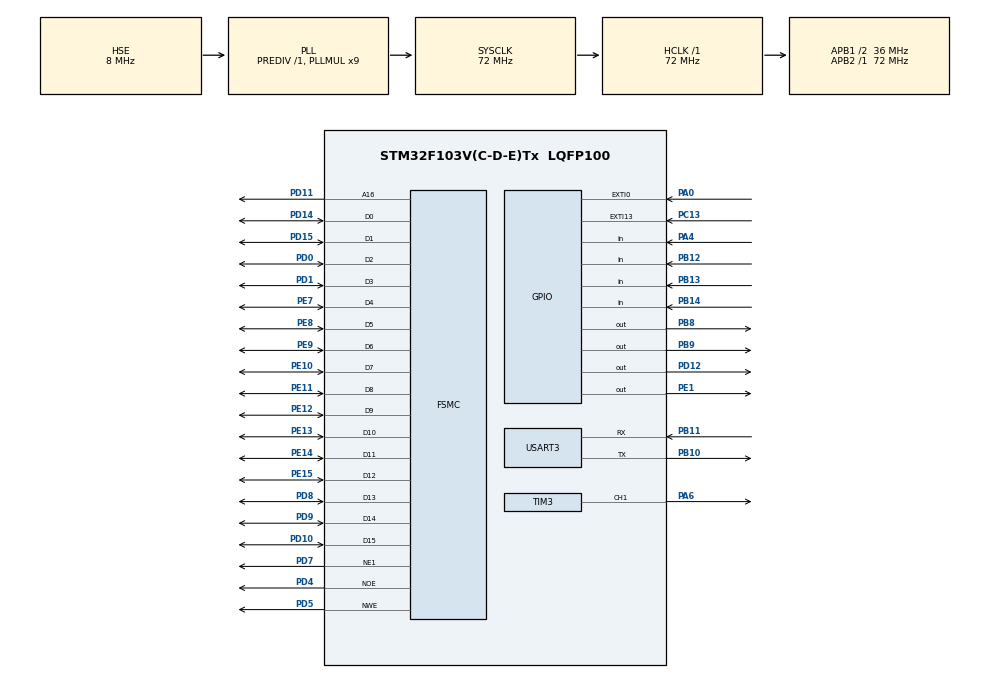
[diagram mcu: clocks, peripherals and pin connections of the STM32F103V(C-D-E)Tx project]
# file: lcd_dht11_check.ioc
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Mcu.Family=STM32F1
Mcu.Name=STM32F103V(C-D-E)Tx
Mcu.Package=LQFP100
NVIC.EXTI0_IRQn=true\:0\:0\:false\:false\:true\:true\:true
NVIC.EXTI15_10_IRQn=true\:0\:0\:false\:false\:true\:true\:true
NVIC.PriorityGroup=NVIC_PRIORITYGROUP_4
NVIC.USART3_IRQn=true\:0\:0\:false\:false\:true\:true\:true
OSC_IN.Mode=HSE-External-Oscillator
OSC_IN.Signal=RCC_OSC_IN
OSC_OUT.Mode=HSE-External-Oscillator
OSC_OUT.Signal=RCC_OSC_OUT
PA0-WKUP.Signal=GPXTI0
PA13.Mode=Serial_Wire
PA13.Signal=SYS_JTMS-SWDIO
PA14.Mode=Serial_Wire
PA14.Signal=SYS_JTCK-SWCLK
PA4.Signal=GPIO_Input
PA6.Signal=S_TIM3_CH1
PB10.Mode=Asynchronous
PB10.Signal=USART3_TX
PB11.Mode=Asynchronous
PB11.Signal=USART3_RX
PB12.Signal=GPIO_Input
PB13.Signal=GPIO_Input
PB14.Signal=GPIO_Input
PB8.GPIO_Speed=GPIO_SPEED_FREQ_HIGH
PB8.Signal=GPIO_Output
PB9.GPIO_Speed=GPIO_SPEED_FREQ_HIGH
PB9.Signal=GPIO_Output
PC13-TAMPER-RTC.Signal=GPXTI13
PC14-OSC32_IN.Mode=LSE-External-Oscillator
PC14-OSC32_IN.Signal=RCC_OSC32_IN
PC15-OSC32_OUT.Mode=LSE-External-Oscillator
PC15-OSC32_OUT.Signal=RCC_OSC32_OUT
PD0.Mode=16b-d1
PD0.Signal=FSMC_D2
PD1.Mode=16b-d1
PD1.Signal=FSMC_D3
PD10.Mode=16b-d1
PD10.Signal=FSMC_D15
PD11.Mode=A16_1
PD11.Signal=FSMC_A16
PD12.GPIO_Speed=GPIO_SPEED_FREQ_HIGH
PD12.Signal=GPIO_Output
PD14.Mode=16b-d1
PD14.Signal=FSMC_D0
PD15.Mode=16b-d1
PD15.Signal=FSMC_D1
PD4.Mode=Lcd1
PD4.Signal=FSMC_NOE
PD5.Mode=Lcd1
PD5.Signal=FSMC_NWE
PD7.Mode=NorPsramChipSelect1_1
PD7.Signal=FSMC_NE1
PD8.Mode=16b-d1
PD8.Signal=FSMC_D13
PD9.Mode=16b-d1
PD9.Signal=FSMC_D14
PE1.GPIO_Speed=GPIO_SPEED_FREQ_HIGH
PE1.Signal=GPIO_Output
PE10.Mode=16b-d1
PE10.Signal=FSMC_D7
PE11.Mode=16b-d1
PE11.Signal=FSMC_D8
PE12.Mode=16b-d1
PE12.Signal=FSMC_D9
PE13.Mode=16b-d1
PE13.Signal=FSMC_D10
PE14.Mode=16b-d1
PE14.Signal=FSMC_D11
PE15.Mode=16b-d1
PE15.Signal=FSMC_D12
PE7.Mode=16b-d1
PE7.Signal=FSMC_D4
PE8.Mode=16b-d1
PE8.Signal=FSMC_D5
PE9.Mode=16b-d1
PE9.Signal=FSMC_D6
ProjectManager.HeapSize=0x200
ProjectManager.StackSize=0x400
ProjectManager.TargetToolchain=MDK-ARM V5
RCC.AHBFreq_Value=72000000
RCC.APB1CLKDivider=RCC_HCLK_DIV2
RCC.APB1Freq_Value=36000000
RCC.APB1TimFreq_Value=72000000
RCC.APB2Freq_Value=72000000
RCC.APB2TimFreq_Value=72000000
RCC.HCLKFreq_Value=72000000
RCC.PLLMUL=RCC_PLL_MUL9
RCC.PLLSourceVirtual=RCC_PLLSOURCE_HSE
RCC.SYSCLKFreq_VALUE=72000000
RCC.SYSCLKSource=RCC_SYSCLKSOURCE_PLLCLK
RCC.USBFreq_Value=72000000
SH.S_TIM3_CH1.0=TIM3_CH1,PWM Generation1 CH1
TIM1.Period=0xffff-1
TIM1.Prescaler=72-1
TIM3.Channel-PWM\ Generation1\ CH1=TIM_CHANNEL_1
TIM3.Period=2880-1
TIM3.Pulse-PWM\ Generation1\ CH1=864
USART3.VirtualMode=VM_ASYNC
VP_TIM1_VS_ClockSourceINT.Mode=Internal
VP_TIM3_VS_ClockSourceINT.Mode=Internal
board=custom

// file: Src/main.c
/* USER CODE BEGIN Header */
/**
  ******************************************************************************
  * @file           : main.c
  * @brief          : Main program body
  ******************************************************************************
  * @attention
  *
  * <h2><center>&copy; Copyright (c) 2020 STMicroelectronics.
  * All rights reserved.</center></h2>
  *
  * This software component is licensed by ST under BSD 3-Clause license,
  * the "License"; You may not use this file except in compliance with the
  * License. You may obtain a copy of the License at:
  *                        opensource.org/licenses/BSD-3-Clause
  *
  ******************************************************************************
  */
/* USER CODE END Header */

#include "main.h"

/* USER CODE BEGIN Includes */
#include "lcd.h"
#include "./dht11/dht11.h"
#include "ESP_DATA_HANDLER.h"
/* USER CODE END Includes */

TIM_HandleTypeDef htim1;
TIM_HandleTypeDef htim3;

UART_HandleTypeDef huart3;

SRAM_HandleTypeDef hsram1;

/* USER CODE BEGIN PV */
uint8_t fan_mode = 0;								//0 -> auto, 1 manual
unsigned int count = 0;
uint8_t display_mode = 1;						//0 -> web server, 1 lcd
/* USER CODE END PV */

void SystemClock_Config(void);
static void MX_GPIO_Init(void);
static void MX_FSMC_Init(void);
static void MX_TIM1_Init(void);
static void MX_TIM3_Init(void);
static void MX_USART3_UART_Init(void);
/* USER CODE BEGIN PFP */
void delay_us(uint16_t us);
void user_pwm_setvalue(uint16_t value);
void fan_speed_auto(unsigned int digit);
/* USER CODE END PFP */

int main(void)
{
  /* USER CODE BEGIN 1 */
	DHT11_Data_TypeDef DHT11_Data;
  /* USER CODE END 1 */

  /* MCU Configuration--------------------------------------------------------*/

  /* Reset of all peripherals, Initializes the Flash interface and the Systick. */
  HAL_Init();

  /* Configure the system clock */
  SystemClock_Config();

  /* Initialize all configured peripherals */
  MX_GPIO_Init();
  MX_FSMC_Init();
  MX_TIM1_Init();
  MX_TIM3_Init();
  MX_USART3_UART_Init();
  /* USER CODE BEGIN 2 */
	LCD_INIT();
	LCD_DrawString(0,0,"Initializing...");

	HAL_TIM_Base_Start(&htim1);
	HAL_TIM_PWM_Start(&htim3,TIM_CHANNEL_1);
	DHT11_Init();
	HAL_Delay(1000);

	//Wifi SSID, password, static IP
	ESP_Init("Buffalo-G-751","checkbuffalo","192.168.1.4");

	LCD_Clear(0,0,240,320,WHITE);

  /* USER CODE END 2 */

  /* Infinite loop */
  while (1)
  {

    /* USER CODE BEGIN 3 */
		if(display_mode){
			char str[50];
			if(DHT11_Read_TempAndHumidity(&DHT11_Data)==1){
				LCD_DrawString(0,0,"DHT11 Readings:");

				sprintf(str,"Temperature: %d.%d C",DHT11_Data.temp_int,DHT11_Data.temp_deci);
				LCD_DrawString(0,24,str);

				sprintf(str,"Humidity: %d.%d %%",DHT11_Data.humi_int,DHT11_Data.humi_deci);
				LCD_DrawString(0,48,str);
			}else{
				sprintf(str,"DHT11 Error: %d",DHT11_Data.presence);
				LCD_DrawString(0,0,str);
			}

			if(!fan_mode){
				fan_speed_auto(DHT11_Data.temp_int);
				LCD_DrawString(0,72,"Fan Mode:\tAUTO");
			}else{
				GPIO_PinState state = HAL_GPIO_ReadPin(GPIOA,GPIO_PIN_4);
				if(state!=GPIO_PIN_RESET){
					++count;
				}
				char str[50];

				switch(count%3){
					case 0:
						user_pwm_setvalue(864);
						sprintf(str,"Fan Mode:\tMANUAL 30%%");
						break;
					case 1:
						user_pwm_setvalue(1728);
						sprintf(str,"Fan Mode:\tMANUAL 60%%");
						break;
					case 2:
						user_pwm_setvalue(2860);
						sprintf(str,"Fan Mode:\tMANUAL 100%%");
						break;
					}
					LCD_DrawString(0,72,str);
			}
		}else{
				LCD_DrawString(0,0,"Web Server Mode");
				if(DHT11_Read_TempAndHumidity(&DHT11_Data)==1){
					Server_Start(DHT11_Data.temp_int,DHT11_Data.temp_deci,DHT11_Data.humi_int,DHT11_Data.humi_deci);
					if(!fan_mode){
						fan_speed_auto(DHT11_Data.temp_int);
					}
				}else{
					LCD_DrawString(0,24,"DHT11 Error!");
				}

		}

		static int i = 0;
		char i_buffer[10];
		sprintf(i_buffer, "i = %d", i);
		LCD_DrawString(0, 200, i_buffer);
		++i;

		HAL_Delay(3000);
		LCD_Clear(0,0,240,320,WHITE);
	}
  /* USER CODE END 3 */
}

void SystemClock_Config(void)
{
  RCC_OscInitTypeDef RCC_OscInitStruct = {0};
  RCC_ClkInitTypeDef RCC_ClkInitStruct = {0};

  /** Initializes the CPU, AHB and APB busses clocks
  */
  RCC_OscInitStruct.OscillatorType = RCC_OSCILLATORTYPE_HSE;
  RCC_OscInitStruct.HSEState = RCC_HSE_ON;
  RCC_OscInitStruct.HSEPredivValue = RCC_HSE_PREDIV_DIV1;
  RCC_OscInitStruct.HSIState = RCC_HSI_ON;
  RCC_OscInitStruct.PLL.PLLState = RCC_PLL_ON;
  RCC_OscInitStruct.PLL.PLLSource = RCC_PLLSOURCE_HSE;
  RCC_OscInitStruct.PLL.PLLMUL = RCC_PLL_MUL9;
  if (HAL_RCC_OscConfig(&RCC_OscInitStruct) != HAL_OK)
  {
    Error_Handler();
  }
  /** Initializes the CPU, AHB and APB busses clocks
  */
  RCC_ClkInitStruct.ClockType = RCC_CLOCKTYPE_HCLK|RCC_CLOCKTYPE_SYSCLK
                              |RCC_CLOCKTYPE_PCLK1|RCC_CLOCKTYPE_PCLK2;
  RCC_ClkInitStruct.SYSCLKSource = RCC_SYSCLKSOURCE_PLLCLK;
  RCC_ClkInitStruct.AHBCLKDivider = RCC_SYSCLK_DIV1;
  RCC_ClkInitStruct.APB1CLKDivider = RCC_HCLK_DIV2;
  RCC_ClkInitStruct.APB2CLKDivider = RCC_HCLK_DIV1;

  if (HAL_RCC_ClockConfig(&RCC_ClkInitStruct, FLASH_LATENCY_2) != HAL_OK)
  {
    Error_Handler();
  }
}

static void MX_TIM1_Init(void)
{

  TIM_ClockConfigTypeDef sClockSourceConfig = {0};
  TIM_MasterConfigTypeDef sMasterConfig = {0};

  htim1.Instance = TIM1;
  htim1.Init.Prescaler = 72-1;
  htim1.Init.CounterMode = TIM_COUNTERMODE_UP;
  htim1.Init.Period = 0xffff-1;
  htim1.Init.ClockDivision = TIM_CLOCKDIVISION_DIV1;
  htim1.Init.RepetitionCounter = 0;
  htim1.Init.AutoReloadPreload = TIM_AUTORELOAD_PRELOAD_DISABLE;
  if (HAL_TIM_Base_Init(&htim1) != HAL_OK)
  {
    Error_Handler();
  }
  sClockSourceConfig.ClockSource = TIM_CLOCKSOURCE_INTERNAL;
  if (HAL_TIM_ConfigClockSource(&htim1, &sClockSourceConfig) != HAL_OK)
  {
    Error_Handler();
  }
  sMasterConfig.MasterOutputTrigger = TIM_TRGO_RESET;
  sMasterConfig.MasterSlaveMode = TIM_MASTERSLAVEMODE_DISABLE;
  if (HAL_TIMEx_MasterConfigSynchronization(&htim1, &sMasterConfig) != HAL_OK)
  {
    Error_Handler();
  }

}

static void MX_TIM3_Init(void)
{

  TIM_ClockConfigTypeDef sClockSourceConfig = {0};
  TIM_MasterConfigTypeDef sMasterConfig = {0};
  TIM_OC_InitTypeDef sConfigOC = {0};

  htim3.Instance = TIM3;
  htim3.Init.Prescaler = 0;
  htim3.Init.CounterMode = TIM_COUNTERMODE_UP;
  htim3.Init.Period = 2880-1;
  htim3.Init.ClockDivision = TIM_CLOCKDIVISION_DIV1;
  htim3.Init.AutoReloadPreload = TIM_AUTORELOAD_PRELOAD_DISABLE;
  if (HAL_TIM_Base_Init(&htim3) != HAL_OK)
  {
    Error_Handler();
  }
  sClockSourceConfig.ClockSource = TIM_CLOCKSOURCE_INTERNAL;
  if (HAL_TIM_ConfigClockSource(&htim3, &sClockSourceConfig) != HAL_OK)
  {
    Error_Handler();
  }
  if (HAL_TIM_PWM_Init(&htim3) != HAL_OK)
  {
    Error_Handler();
  }
  sMasterConfig.MasterOutputTrigger = TIM_TRGO_RESET;
  sMasterConfig.MasterSlaveMode = TIM_MASTERSLAVEMODE_DISABLE;
  if (HAL_TIMEx_MasterConfigSynchronization(&htim3, &sMasterConfig) != HAL_OK)
  {
    Error_Handler();
  }
  sConfigOC.OCMode = TIM_OCMODE_PWM1;
  sConfigOC.Pulse = 50;
  sConfigOC.OCPolarity = TIM_OCPOLARITY_HIGH;
  sConfigOC.OCFastMode = TIM_OCFAST_DISABLE;
  if (HAL_TIM_PWM_ConfigChannel(&htim3, &sConfigOC, TIM_CHANNEL_1) != HAL_OK)
  {
    Error_Handler();
  }
  HAL_TIM_MspPostInit(&htim3);

}

static void MX_USART3_UART_Init(void)
{

  huart3.Instance = USART3;
  huart3.Init.BaudRate = 115200;
  huart3.Init.WordLength = UART_WORDLENGTH_8B;
  huart3.Init.StopBits = UART_STOPBITS_1;
  huart3.Init.Parity = UART_PARITY_NONE;
  huart3.Init.Mode = UART_MODE_TX_RX;
  huart3.Init.HwFlowCtl = UART_HWCONTROL_NONE;
  huart3.Init.OverSampling = UART_OVERSAMPLING_16;
  if (HAL_UART_Init(&huart3) != HAL_OK)
  {
    Error_Handler();
  }

}

static void MX_GPIO_Init(void)
{
  GPIO_InitTypeDef GPIO_InitStruct = {0};

  /* GPIO Ports Clock Enable */
  __HAL_RCC_GPIOC_CLK_ENABLE();
  __HAL_RCC_GPIOA_CLK_ENABLE();
  __HAL_RCC_GPIOE_CLK_ENABLE();
  __HAL_RCC_GPIOB_CLK_ENABLE();
  __HAL_RCC_GPIOD_CLK_ENABLE();

  /*Configure GPIO pin Output Level */
  HAL_GPIO_WritePin(GPIOD, GPIO_PIN_12, GPIO_PIN_RESET);

  /*Configure GPIO pin Output Level */
  HAL_GPIO_WritePin(GPIOB, GPIO_PIN_8|GPIO_PIN_9, GPIO_PIN_RESET);

  /*Configure GPIO pin Output Level */
  HAL_GPIO_WritePin(GPIOE, GPIO_PIN_1, GPIO_PIN_RESET);

  /*Configure GPIO pin : PC13 */
  GPIO_InitStruct.Pin = GPIO_PIN_13;
  GPIO_InitStruct.Mode = GPIO_MODE_IT_RISING;
  GPIO_InitStruct.Pull = GPIO_NOPULL;
  HAL_GPIO_Init(GPIOC, &GPIO_InitStruct);

  /*Configure GPIO pin : PA0 */
  GPIO_InitStruct.Pin = GPIO_PIN_0;
  GPIO_InitStruct.Mode = GPIO_MODE_IT_RISING;
  GPIO_InitStruct.Pull = GPIO_NOPULL;
  HAL_GPIO_Init(GPIOA, &GPIO_InitStruct);

  /*Configure GPIO pin : PA4 */
  GPIO_InitStruct.Pin = GPIO_PIN_4;
  GPIO_InitStruct.Mode = GPIO_MODE_INPUT;
  GPIO_InitStruct.Pull = GPIO_NOPULL;
  HAL_GPIO_Init(GPIOA, &GPIO_InitStruct);

  /*Configure GPIO pins : PB12 PB13 PB14 */
  GPIO_InitStruct.Pin = GPIO_PIN_12|GPIO_PIN_13|GPIO_PIN_14;
  GPIO_InitStruct.Mode = GPIO_MODE_INPUT;
  GPIO_InitStruct.Pull = GPIO_NOPULL;
  HAL_GPIO_Init(GPIOB, &GPIO_InitStruct);

  /*Configure GPIO pin : PD12 */
  GPIO_InitStruct.Pin = GPIO_PIN_12;
  GPIO_InitStruct.Mode = GPIO_MODE_OUTPUT_PP;
  GPIO_InitStruct.Pull = GPIO_NOPULL;
  GPIO_InitStruct.Speed = GPIO_SPEED_FREQ_HIGH;
  HAL_GPIO_Init(GPIOD, &GPIO_InitStruct);

  /*Configure GPIO pins : PB8 PB9 */
  GPIO_InitStruct.Pin = GPIO_PIN_8|GPIO_PIN_9;
  GPIO_InitStruct.Mode = GPIO_MODE_OUTPUT_PP;
  GPIO_InitStruct.Pull = GPIO_NOPULL;
  GPIO_InitStruct.Speed = GPIO_SPEED_FREQ_HIGH;
  HAL_GPIO_Init(GPIOB, &GPIO_InitStruct);

  /*Configure GPIO pin : PE1 */
  GPIO_InitStruct.Pin = GPIO_PIN_1;
  GPIO_InitStruct.Mode = GPIO_MODE_OUTPUT_PP;
  GPIO_InitStruct.Pull = GPIO_NOPULL;
  GPIO_InitStruct.Speed = GPIO_SPEED_FREQ_HIGH;
  HAL_GPIO_Init(GPIOE, &GPIO_InitStruct);

  /* EXTI interrupt init*/
  HAL_NVIC_SetPriority(EXTI0_IRQn, 0, 0);
  HAL_NVIC_EnableIRQ(EXTI0_IRQn);

  HAL_NVIC_SetPriority(EXTI15_10_IRQn, 0, 0);
  HAL_NVIC_EnableIRQ(EXTI15_10_IRQn);

}

/* FSMC initialization function */
static void MX_FSMC_Init(void)
{

  FSMC_NORSRAM_TimingTypeDef Timing = {0};

  /** Perform the SRAM1 memory initialization sequence
  */
  hsram1.Instance = FSMC_NORSRAM_DEVICE;
  hsram1.Extended = FSMC_NORSRAM_EXTENDED_DEVICE;
  /* hsram1.Init */
  hsram1.Init.NSBank = FSMC_NORSRAM_BANK1;
  hsram1.Init.DataAddressMux = FSMC_DATA_ADDRESS_MUX_DISABLE;
  hsram1.Init.MemoryType = FSMC_MEMORY_TYPE_SRAM;
  hsram1.Init.MemoryDataWidth = FSMC_NORSRAM_MEM_BUS_WIDTH_16;
  hsram1.Init.BurstAccessMode = FSMC_BURST_ACCESS_MODE_DISABLE;
  hsram1.Init.WaitSignalPolarity = FSMC_WAIT_SIGNAL_POLARITY_LOW;
  hsram1.Init.WrapMode = FSMC_WRAP_MODE_DISABLE;
  hsram1.Init.WaitSignalActive = FSMC_WAIT_TIMING_BEFORE_WS;
  hsram1.Init.WriteOperation = FSMC_WRITE_OPERATION_ENABLE;
  hsram1.Init.WaitSignal = FSMC_WAIT_SIGNAL_DISABLE;
  hsram1.Init.ExtendedMode = FSMC_EXTENDED_MODE_DISABLE;
  hsram1.Init.AsynchronousWait = FSMC_ASYNCHRONOUS_WAIT_DISABLE;
  hsram1.Init.WriteBurst = FSMC_WRITE_BURST_DISABLE;
  /* Timing */
  Timing.AddressSetupTime = 15;
  Timing.AddressHoldTime = 15;
  Timing.DataSetupTime = 255;
  Timing.BusTurnAroundDuration = 15;
  Timing.CLKDivision = 16;
  Timing.DataLatency = 17;
  Timing.AccessMode = FSMC_ACCESS_MODE_A;
  /* ExtTiming */

  if (HAL_SRAM_Init(&hsram1, &Timing, NULL) != HAL_OK)
  {
    Error_Handler( );
  }

  /** Disconnect NADV
  */

  __HAL_AFIO_FSMCNADV_DISCONNECTED();

}

/* USER CODE BEGIN 4 */
void delay_us(uint16_t us){
	__HAL_TIM_SET_COUNTER(&htim1,0);  // set the counter value a 0
	while (__HAL_TIM_GET_COUNTER(&htim1) < us);  // wait for the counter to reach the us input in the parameter
}

void user_pwm_setvalue(uint16_t value)
{
    TIM_OC_InitTypeDef sConfigOC;

    sConfigOC.OCMode = TIM_OCMODE_PWM1;
    sConfigOC.Pulse = value;
    sConfigOC.OCPolarity = TIM_OCPOLARITY_HIGH;
    sConfigOC.OCFastMode = TIM_OCFAST_DISABLE;
    HAL_TIM_PWM_ConfigChannel(&htim3, &sConfigOC, TIM_CHANNEL_1);
    HAL_TIM_PWM_Start(&htim3, TIM_CHANNEL_1);
}

void fan_speed_auto(unsigned int temperature){
	if(temperature<25){
		user_pwm_setvalue(50); 		//0% duty cycle
	}else if(temperature>=25 && temperature <27){
		user_pwm_setvalue(864);			//30% duty cycle
	}else if(temperature>=27 && temperature<30){
		user_pwm_setvalue(1728);		//60% duty cycle
	}else{
		user_pwm_setvalue(2860);		//100% duty cycle
	}

}

/**
  * @brief EXTI line detection callbacks
  * @param GPIO_Pin: Specifies the pins connected EXTI line
  * @retval None
  */
void HAL_GPIO_EXTI_Callback(uint16_t GPIO_Pin)
{
  if(GPIO_Pin == GPIO_PIN_0)
  {
		if(fan_mode){
			fan_mode = 0;
		}else{
			fan_mode = 1;
			user_pwm_setvalue(864);
		}
  }else if(GPIO_Pin==GPIO_PIN_13){
		if(display_mode){
			display_mode = 0;
		}else{
			display_mode = 1;
		}
	}
	//HAL_Delay(300);
}
/* USER CODE END 4 */

void Error_Handler(void)
{
}

/************************ (C) COPYRIGHT STMicroelectronics *****END OF FILE****/
